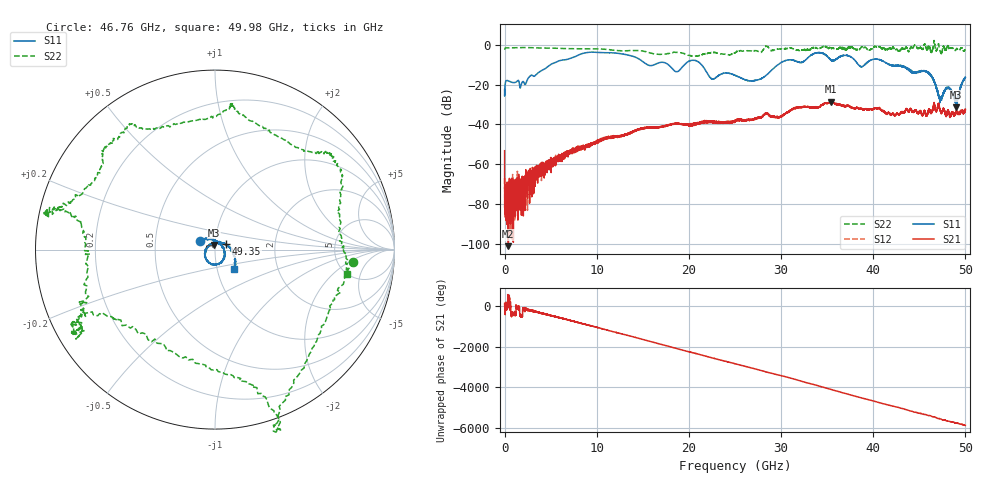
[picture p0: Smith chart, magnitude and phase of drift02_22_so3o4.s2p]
!Created with skrf (http://scikit-rf.org).
# Hz S RI R 50.0
!freq ReS11 ImS11 ReS21 ImS21 ReS12 ImS12 ReS22 ImS22
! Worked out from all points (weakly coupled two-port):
!   10001 points, 300 kHz to 50 GHz, reference 50 ohm
!   highest |S21| = -28.47 dB at 35.38 GHz (marker M1); lowest = -101.2 dB at 405.3 MHz (marker M2)
!   lowest |S11| = -31.4 dB at 49.02 GHz (marker M3), VSWR 1.06, Z = 49.5 + j2.62 ohm
!   |S11| at or under -10 dB: start of sweep to 4.957 GHz; 21.38 GHz to 29.63 GHz (8.252 GHz wide, 32.4 % of centre); 41.93 GHz to end of sweep (the widest 3 of 8)
!   |S22| runs from -5.7 to 2.3 dB; largest |S21 - S12| = 0.0035
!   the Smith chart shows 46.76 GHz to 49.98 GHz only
!   S11 on the Smith chart (normalised r, x): 46.76 GHz: 0.84, +0.08; 49.35 GHz: 1.13, +0.07; 49.98 GHz: 1.20, -0.27
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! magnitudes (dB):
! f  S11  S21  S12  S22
! 300 kHz  -22.5  -53.2  -67.0  -2.0
! 255.3 MHz  -17.9  -76.1  -80.1  -1.4
! 405.3 MHz  -18.1  -101.2  -72.8  -1.4
! 1.875 GHz  -19.1  -71.6  -68.5  -1.3
! 8.335 GHz  -4.5  -52.3  -51.9  -1.9
! 16.67 GHz  -9.1  -41.5  -41.4  -4.7
! 18.7 GHz  -13.5  -39.6  -39.7  -3.7
! 20.59 GHz  -7.7  -40.0  -40.5  -5.7
! 22.5 GHz  -17.1  -38.5  -38.9  -3.8
! 25 GHz  -15.3  -38.4  -38.1  -3.9
! 27.5 GHz  -17.6  -36.4  -36.6  -3.2
! 33.34 GHz  -4.9  -31.3  -31.3  -1.6
! 35.38 GHz  -7.5  -28.5  -28.7  -1.5
! 41.67 GHz  -9.8  -34.3  -34.1  -1.9
! 45.77 GHz  -13.5  -35.8  -35.6  -1.8
! 46.76 GHz  -20.3  -32.4  -32.9  -2.2
! 47.28 GHz  -27.6  -33.2  -32.9  -3.4
! 48.14 GHz  -21.5  -32.8  -33.6  -0.8
! 49.02 GHz  -31.4  -33.9  -33.8  -2.2
! 49.35 GHz  -23.2  -34.5  -34.4  -2.8
! 49.98 GHz  -16.4  -33.7  -32.4  -2.5
! 50 GHz  -16.3  -32.5  -33.0  -2.7
